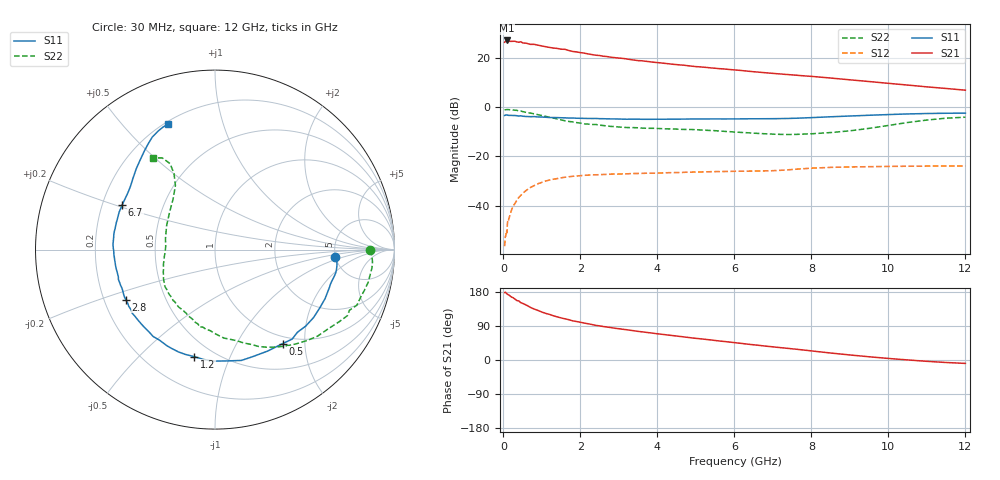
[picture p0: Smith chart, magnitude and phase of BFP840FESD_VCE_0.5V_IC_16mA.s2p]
! Infineon Technologies  Discrete & RF Semiconductors
! BFP840FESD
! VCE =  0.5 V,  IC =  16 mA
! Common Emitter S-Parameters:  May 2012
# GHz  S  MA  R  50
!  f  S11  S21  S12  S22
! GHz  MAG  ANG  MAG  ANG  MAG  ANG  MAG  ANG
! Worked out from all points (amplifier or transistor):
!   103 points, 30 MHz to 12 GHz, reference 50 ohm
!   highest |S21| = 26.9 dB at 80 MHz (marker M1)
!   |S21| within 3 dB of that: start of sweep to 1.266 GHz
!   unconditionally stable (mu >= 1): start of sweep to 91.55 MHz; 5.164 GHz to end of sweep
!   at 400 MHz: K = 0.25, MSG = 31.4 dB, |S12| = -36.7 dB
!   at 3.7 GHz: K = 0.79, MSG = 22.7 dB, |S12| = -26.9 dB
!   at 12 GHz: K = 1.36, MAG = 11.8 dB, |S12| = -24.0 dB
!   S11 on the Smith chart (normalised r, x): 30 MHz: 4.93, -0.75; 500 MHz: 0.88, -1.58; 1.2 GHz: 0.39, -0.74; 2.8 GHz: 0.29, -0.24; 6.7 GHz: 0.28, +0.21; 12 GHz: 0.21, +0.67
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0.03  0.6693 -3.6  20.39 177.9  0.0015 53.0  0.8616 -0.2
0.05  0.6817 -5.7  21.28 178.9  0.0024 82.8  0.8718 -1.5
0.08  0.6859 -9.5  22.16 175.7  0.0031 70.6  0.8783 -3.7
0.13  0.6725 -15.9  21.12 171.9  0.005 74.1  0.8787 -7.5
0.3  0.667 -34.6  21.35 160.6  0.011 71.8  0.8535 -18.2
0.35  0.661 -40.2  20.69 156.9  0.0129 70.9  0.849 -21.4
0.4  0.6503 -45.1  20.38 155.7  0.0146 69.0  0.8217 -24.3
0.45  0.6584 -49.2  20.86 151.2  0.016 67.3  0.8245 -26.5
0.5  0.6452 -54.3  19.8 149.4  0.0176 65.9  0.8012 -30.0
0.7  0.6324 -71.1  18.49 138.8  0.0232 59.8  0.7476 -40.2
0.8  0.6348 -76.6  18.46 134.4  0.0254 56.8  0.7212 -44.6
1.2  0.6073 -101.0  15.99 120.2  0.0329 46.8  0.6146 -62.2
1.6  0.5989 -116.5  14.65 108.6  0.0374 38.5  0.5218 -76.6
1.8  0.5942 -125.5  13.26 103.3  0.0391 36.0  0.4958 -84.1
2.1  0.5836 -134.4  12.25 97.4  0.0409 32.1  0.4518 -93.5
2.8  0.57 -150.7  10.11 85.4  0.0433 26.8  0.4005 -110.7
4.1  0.5612 -171.5  7.748 68.0  0.0457 22.5  0.3619 -132.0
6.1  0.5697 163.0  5.524 44.7  0.0495 19.6  0.3059 -160.2
6.7  0.5737 154.5  4.992 37.9  0.0502 20.1  0.287 -170.6
8.5  0.6291 134.2  3.836 18.4  0.0593 18.6  0.3012 153.4
10.5  0.718 119.1  2.763 0.2  0.0625 13.3  0.4819 118.3
12  0.7453 110.5  2.178 -9.0  0.0632 12.6  0.6172 124.1
